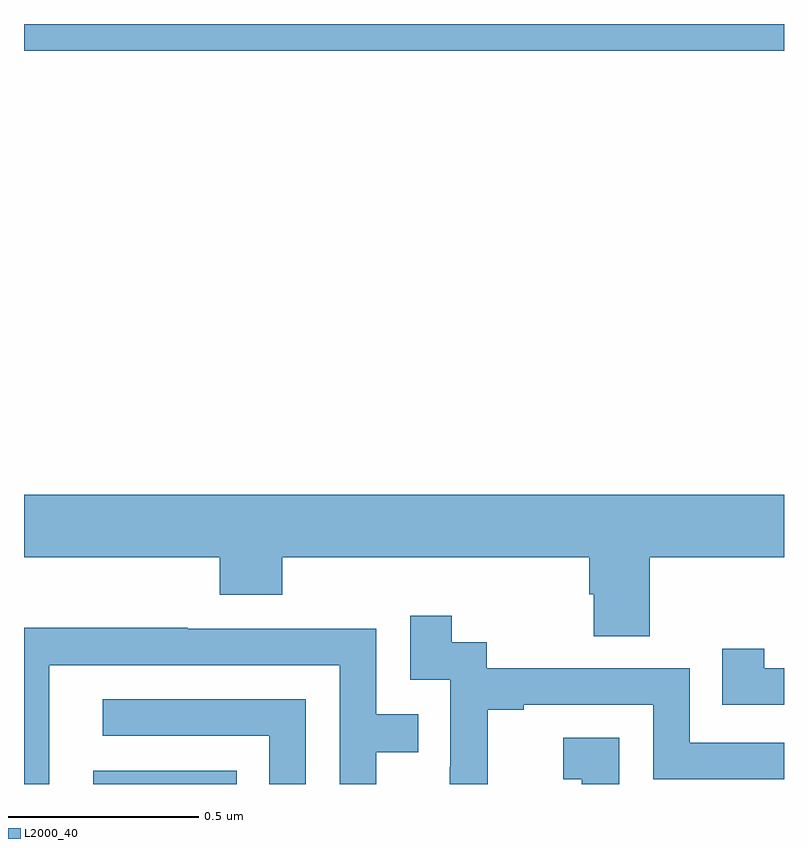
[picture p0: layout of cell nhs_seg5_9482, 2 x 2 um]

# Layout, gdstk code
import gdstk
lib = gdstk.Library(unit=1e-6, precision=1e-09)
def R(c, l, rs):  # rectangles x0, y0, x1, y1
    for r in rs: c.add(gdstk.rectangle(r[:2], r[2:], *l))
def P(c, l, *ps):  # polygons
    for p in ps: c.add(gdstk.Polygon(p, *l))
L2000_40 = (2000, 40)

nhs_seg5_9482 = lib.new_cell('nhs_seg5_9482')
R(nhs_seg5_9482, L2000_40, [(234.182,886.799,234.56,886.834), (234,888.728,236,888.799)])
P(nhs_seg5_9482, L2000_40, [(235.647,887.396),(236,887.396),(236,887.56),(234,887.56),(234,887.396),(234.515,887.396),(234.515,887.297),(234.68,887.297),(234.68,887.396),(235.487,887.396),(235.487,887.298),(235.499,887.298),(235.499,887.188),(235.647,887.188)],
  [(235.22,886.995),(235.315,886.995),(235.315,887.007),(235.656,887.007),(235.656,886.812),(236,886.812),(236,886.908),(235.752,886.908),(235.752,887.103),(235.218,887.103),(235.218,887.172),(235.126,887.172),(235.126,887.242),(235.017,887.242),(235.017,887.073),(235.122,887.073),(235.122,886.844),(235.121,886.844),(235.121,886.799),(235.22,886.799)],
  [(234.066,887.112),(234.831,887.112),(234.831,886.799),(234.927,886.799),(234.927,886.882),(235.037,886.882),(235.037,886.983),(234.927,886.983),(234.927,887.208),(234.431,887.208),(234.431,887.21),(234,887.21),(234,886.799),(234.066,886.799)],
  [(236,887.103),(235.948,887.103),(235.948,887.155),(235.837,887.155),(235.837,887.007),(236,887.007)],
  [(234.741,887.022),(234.207,887.022),(234.207,886.926),(234.645,886.926),(234.645,886.799),(234.741,886.799)],
  [(235.566,886.921),(235.419,886.921),(235.419,886.811),(235.468,886.811),(235.468,886.799),(235.566,886.799)])

lib.write_gds('nhs_seg5_9482.gds')
